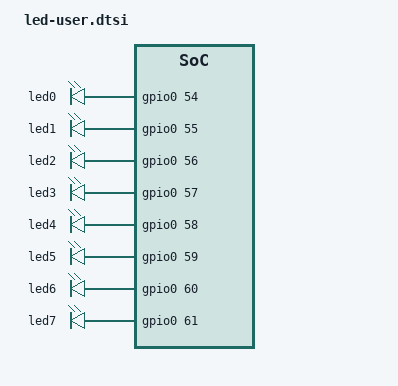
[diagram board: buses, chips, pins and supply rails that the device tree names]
/*
 * user LED
 */

/ {
	led-user {
		compatible = "gpio-leds";
		led-0-yellow {
			label = "led0";
			gpios = <&gpio0 54 0>;
			default-state = "off";
		};
		led-1-yellow {
			label = "led1";
			gpios = <&gpio0 55 0>;
			default-state = "off";
		};
		led-2-yellow {
			label = "led2";
			gpios = <&gpio0 56 0>;
			default-state = "off";
		};
		led-3-yellow {
			label = "led3";
			gpios = <&gpio0 57 0>;
			default-state = "off";
		};
		led-4-yellow {
			label = "led4";
			gpios = <&gpio0 58 0>;
			default-state = "off";
		};
		led-5-yellow {
			label = "led5";
			gpios = <&gpio0 59 0>;
			default-state = "off";
		};
		led-6-yellow {
			label = "led6";
			gpios = <&gpio0 60 0>;
			default-state = "off";
		};
		led-7-yellow {
			label = "led7";
			gpios = <&gpio0 61 0>;
			default-state = "off";
		};
	};
};
